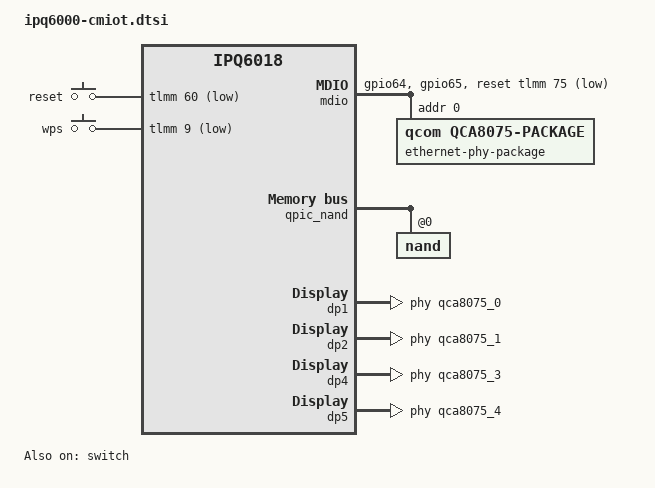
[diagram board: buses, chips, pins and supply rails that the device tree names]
// SPDX-License-Identifier: GPL-2.0-or-later OR MIT

// ============================================================
// 兆能 M2 移植专用 cmiot 设备树碎片（适配 iStoreOS 24.10）
//
// 原始版本来自 LibWrt/LibWrt @ 25.12-nss（cmiot_ax18 参考板，
// 兆能 M2 即其硬件克隆）。但 iStoreOS 24.10（基于 OpenWrt 24.10 上游）
// 与 LibWrt 的 DTS 体系有两处不兼容，已在本文件就地处理：
//
//   1. 去掉  #include "ipq6018-nss.dtsi"
//      iStoreOS 24.10 不含 NSS 设备树，也没有 NSS 内核驱动；
//      dtc 会报 “ipq6018-nss.dtsi: No such file or directory”。
//      本固件走 CPU 转发，不需要 NSS 硬件卸载。若坚持要 NSS 加速，
//      应改用 LibWrt（25.12-nss）源码直接编译，而不是 iStoreOS。
//
//   2. 去掉  #include "ipq6018-common.dtsi"，改为下方内联 mdio_pins
//      iStoreOS 24.10 没有把 pinctrl 拆成 common.dtsi（其自带设备
//      如 fap650 / mango-dvk 直接 include cp-cpu + ess）。而 cmiot 的
//      &mdio 需要 mdio_pins，故在此就地定义，避免引入 LibWrt 专属依赖
//      （LibWrt 的 common.dtsi 还会引用 serial_3_pins，iStoreOS 内核
//       基础里没有，反而会引发新的 “Reference to non-existent label”）。
// ============================================================

#include "ipq6018-512m.dtsi"
#include "ipq6018-ess.dtsi"

#include <dt-bindings/gpio/gpio.h>
#include <dt-bindings/input/input.h>
#include <dt-bindings/leds/common.h>

/ {
	aliases {
		serial0 = &blsp1_uart3;

		ethernet0 = &dp1;
		ethernet1 = &dp2;
		ethernet3 = &dp4;
		ethernet4 = &dp5;
	};

	chosen {
		stdout-path = "serial0:115200n8";
		bootargs-append = " root=/dev/ubiblock0_1";
	};

	keys {
		compatible = "gpio-keys";

		reset {
			label = "reset";
			gpios = <&tlmm 60 GPIO_ACTIVE_LOW>;
			linux,code = <KEY_RESTART>;
		};

		wps {
			label = "wps";
			gpios = <&tlmm 9 GPIO_ACTIVE_LOW>;
			linux,code = <KEY_WPS_BUTTON>;
		};
	};
};

// mdio pinctrl：原在 LibWrt 的 ipq6018-common.dtsi 中，这里内联，
// 因为 iStoreOS 24.10 不包含该拆分文件，且其自带 dtsi 也未定义 mdio_pins。
&tlmm {
	mdio_pins: mdio-pins {
		mdc {
			pins = "gpio64";
			function = "mdc";
			drive-strength = <8>;
			bias-pull-up;
		};

		mdio {
			pins = "gpio65";
			function = "mdio";
			drive-strength = <8>;
			bias-pull-up;
		};
	};
};

&mdio {
	status = "okay";

	pinctrl-0 = <&mdio_pins>;
	pinctrl-names = "default";
	reset-gpios = <&tlmm 75 GPIO_ACTIVE_LOW>;

	ethernet-phy-package@0 {
		compatible = "qcom,qca8075-package";
		#address-cells = <1>;
		#size-cells = <0>;
		reg = <0>;

		qca8075_0: ethernet-phy@0 {
			compatible = "ethernet-phy-ieee802.3-c22";
			reg = <0>;
		};

		qca8075_1: ethernet-phy@1 {
			compatible = "ethernet-phy-ieee802.3-c22";
			reg = <1>;
		};

		qca8075_3: ethernet-phy@3 {
			compatible = "ethernet-phy-ieee802.3-c22";
			reg = <3>;
		};

		qca8075_4: ethernet-phy@4 {
			compatible = "ethernet-phy-ieee802.3-c22";
			reg = <4>;
		};
	};
};

&switch {
	status = "okay";

	switch_lan_bmp = <(ESS_PORT1 | ESS_PORT2 | ESS_PORT4)>;
	switch_wan_bmp = <ESS_PORT5>;
	switch_mac_mode = <MAC_MODE_PSGMII>;

	qcom,port_phyinfo {
		port@1 {
			port_id = <1>;
			phy_address = <0>;
		};

		port@2 {
			port_id = <2>;
			phy_address = <1>;
		};

		port@4 {
			port_id = <4>;
			phy_address = <3>;
		};

		port@5 {
			port_id = <5>;
			phy_address = <4>;
		};
	};
};

&qpic_nand {
	status = "okay";

	nand@0 {
		#address-cells = <1>;
		#size-cells = <1>;
		reg = <0>;

		nand-ecc-strength = <4>;
		nand-ecc-step-size = <512>;
		nand-bus-width = <8>;

		partitions {
			compatible = "qcom,smem-part";
		};
	};
};

&dp1 {
	status = "okay";
	phy-handle = <&qca8075_0>;
	label = "lan3";
};

&dp2 {
	status = "okay";
	phy-handle = <&qca8075_1>;
	label = "lan2";
};

&dp4 {
	status = "okay";
	phy-handle = <&qca8075_3>;
	label = "lan1";
};

&dp5 {
	status = "okay";
	phy-handle = <&qca8075_4>;
	label = "wan";
};

&edma {
	status = "okay";
};
